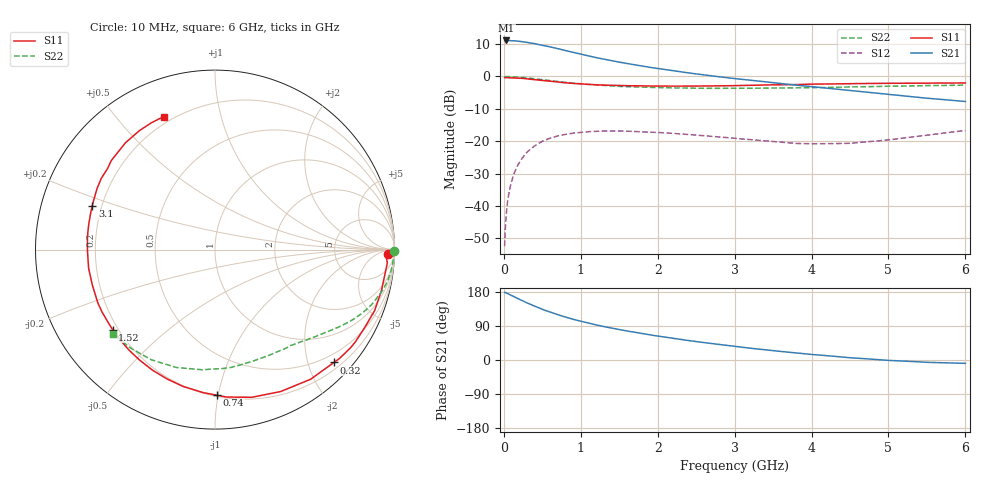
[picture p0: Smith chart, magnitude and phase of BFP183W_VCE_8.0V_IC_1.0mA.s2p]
! Infineon Technologies  Discrete & RF Semiconductors
! BFP183W
! VCE = 8.0 V,  IC =  1.0 mA
! Common Emitter S-Parameters:  Jan 2016
# GHz  S  MA  R  50
!  f  S11  S21  S12  S22
! GHz  MAG  ANG  MAG  ANG  MAG  ANG  MAG  ANG
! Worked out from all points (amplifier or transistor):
!   210 points, 10 MHz to 6 GHz, reference 50 ohm
!   highest |S21| = 11.1 dB at 30 MHz (marker M1)
!   |S21| within 3 dB of that: start of sweep to 781.2 MHz
!   unconditionally stable (mu >= 1): 2.764 GHz to end of sweep
!   at 185 MHz: K = 0.07, MSG = 19.1 dB, |S12| = -27.3 dB
!   at 1.52 GHz: K = 0.53, MSG = 10.6 dB, |S12| = -16.9 dB
!   at 6 GHz: K = 1.12, MAG = 2.3 dB, |S12| = -16.7 dB
!   S11 on the Smith chart (normalised r, x): 10 MHz: 36, -25; 320 MHz: 0.33, -2.47; 740 MHz: 0.21, -0.99; 1.52 GHz: 0.18, -0.33; 3.1 GHz: 0.16, +0.17; 6 GHz: 0.17, +0.67
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0.01  0.9634 -1.5  3.569 178.2  0.0024 90.6  0.9992 -0.6
0.02  0.9563 -2.8  3.583 178.2  0.0048 86.0  0.9947 -1.0
0.03  0.9632 -4.4  3.599 177.2  0.0071 87.5  0.9966 -1.6
0.05  0.9584 -6.9  3.589 175.2  0.0121 85.2  0.9952 -2.6
0.065  0.9559 -9.0  3.578 173.7  0.0156 83.3  0.9941 -3.4
0.125  0.9518 -17.4  3.551 167.7  0.0297 78.8  0.9886 -6.5
0.2  0.9402 -27.7  3.489 160.1  0.0466 73.3  0.9762 -10.4
0.32  0.9134 -43.5  3.329 149.0  0.0709 63.1  0.9464 -15.9
0.4  0.8975 -53.6  3.22 142.1  0.0849 57.5  0.9249 -19.4
0.5  0.8712 -65.2  3.037 133.6  0.1 51.1  0.895 -23.2
0.6  0.8481 -76.0  2.865 126.3  0.1115 44.9  0.8648 -26.6
0.74  0.8118 -89.1  2.62 117.0  0.1235 37.9  0.8271 -30.5
0.9  0.7829 -103.1  2.361 107.3  0.1335 30.7  0.7886 -34.6
1.02  0.7654 -111.7  2.178 101.3  0.1378 26.1  0.7662 -37.3
1.28  0.7382 -129.1  1.872 89.1  0.1435 17.9  0.7286 -42.5
1.52  0.7245 -142.0  1.65 79.7  0.1432 12.1  0.7023 -46.9
2.02  0.7109 -164.7  1.319 62.6  0.1363 3.9  0.6732 -55.7
2.4  0.7105 -178.6  1.135 51.3  0.1274 -0.2  0.6623 -62.8
3.1  0.7254 160.5  0.902 33.6  0.1085 -1.0  0.6571 -76.2
4.1  0.7631 137.4  0.679 13.1  0.0915 13.0  0.6743 -98.5
5.1  0.7856 121.3  0.515 -1.9  0.1086 31.9  0.7098 -122.2
6  0.7944 111.1  0.411 -8.9  0.1467 37.9  0.7364 -140.4
